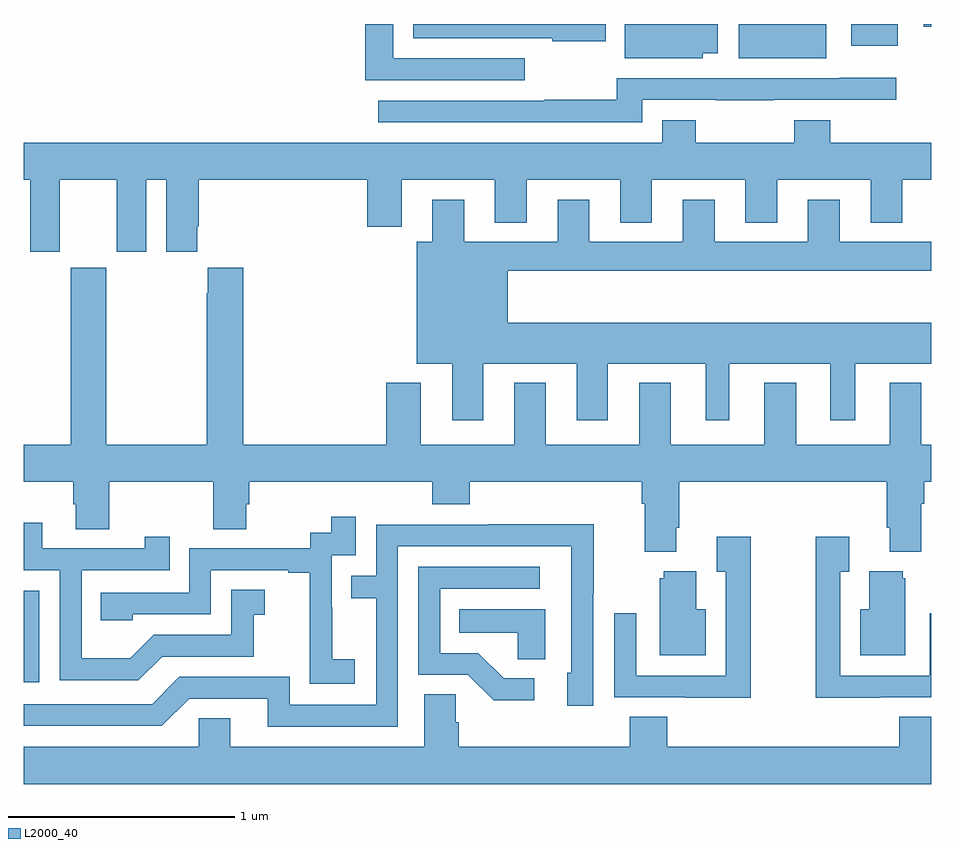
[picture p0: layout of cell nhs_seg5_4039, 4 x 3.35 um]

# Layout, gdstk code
import gdstk
lib = gdstk.Library(unit=1e-6, precision=1e-09)
def R(c, l, rs):  # rectangles x0, y0, x1, y1
    for r in rs: c.add(gdstk.rectangle(r[:2], r[2:], *l))
def P(c, l, *ps):  # polygons
    for p in ps: c.add(gdstk.Polygon(p, *l))
L2000_40 = (2000, 40)

nhs_seg5_4039 = lib.new_cell('nhs_seg5_4039')
R(nhs_seg5_4039, L2000_40, [(349,835.896,349.068,836.301), (352.151,838.649,352.537,838.799), (352.649,838.703,352.852,838.799), (352.968,838.787,353,838.799)])
P(nhs_seg5_4039, L2000_40, [(351.208,838.647),(350.629,838.647),(350.629,838.799),(350.504,838.799),(350.504,838.551),(351.208,838.551)],
  [(351.565,838.799),(350.717,838.799),(350.717,838.737),(351.329,838.737),(351.329,838.724),(351.565,838.724)],
  [(351.993,838.67),(352.059,838.67),(352.059,838.799),(351.65,838.799),(351.65,838.649),(351.993,838.649)],
  [(351.727,838.464),(352.051,838.464),(352.051,838.463),(352.307,838.463),(352.307,838.464),(352.846,838.464),(352.846,838.561),(352.597,838.561),(352.597,838.56),(351.613,838.56),(351.613,838.466),(351.295,838.466),(351.295,838.461),(350.562,838.461),(350.562,838.365),(351.727,838.365)],
  [(349.159,838.112),(349.409,838.112),(349.409,837.795),(349.54,837.795),(349.54,838.112),(349.628,838.112),(349.628,837.795),(349.765,837.795),(349.765,837.907),(349.772,837.907),(349.772,838.112),(350.513,838.112),(350.513,837.906),(350.665,837.906),(350.665,838.112),(351.077,838.112),(351.077,837.923),(351.217,837.923),(351.217,838.112),(351.629,838.112),(351.629,837.923),(351.769,837.923),(351.769,838.112),(352.181,838.112),(352.181,837.923),(352.321,837.923),(352.321,838.112),(352.733,838.112),(352.733,837.923),(352.873,837.923),(352.873,838.112),(353,838.112),(353,838.276),(352.556,838.276),(352.556,838.375),(352.396,838.375),(352.396,838.276),(351.963,838.276),(351.963,838.375),(351.815,838.375),(351.815,838.276),(349,838.276),(349,838.112),(349.028,838.112),(349.028,837.795),(349.159,837.795)],
  [(351.025,837.302),(351.437,837.302),(351.437,837.051),(351.574,837.051),(351.574,837.302),(352.007,837.302),(352.007,837.051),(352.111,837.051),(352.111,837.302),(352.556,837.302),(352.556,837.051),(352.666,837.051),(352.666,837.302),(353,837.302),(353,837.481),(351.133,837.481),(351.133,837.71),(353,837.71),(353,837.838),(352.597,837.838),(352.597,838.024),(352.457,838.024),(352.457,837.838),(352.045,837.838),(352.045,838.024),(351.905,838.024),(351.905,837.838),(351.493,837.838),(351.493,838.024),(351.353,838.024),(351.353,837.838),(350.941,837.838),(350.941,838.024),(350.801,838.024),(350.801,837.838),(350.732,837.838),(350.732,837.302),(350.888,837.302),(350.888,837.051),(351.025,837.051)],
  [(351.877,836.578),(351.89,836.578),(351.89,836.78),(352.805,836.78),(352.805,836.578),(352.817,836.578),(352.817,836.471),(352.957,836.471),(352.957,836.684),(352.97,836.684),(352.97,836.78),(353,836.78),(353,836.944),(352.957,836.944),(352.957,837.217),(352.817,837.217),(352.817,836.944),(352.405,836.944),(352.405,837.217),(352.265,837.217),(352.265,836.944),(351.853,836.944),(351.853,837.217),(351.713,837.217),(351.713,836.944),(351.301,836.944),(351.301,837.217),(351.161,837.217),(351.161,836.944),(350.749,836.944),(350.749,837.217),(350.597,837.217),(350.597,836.944),(349.967,836.944),(349.967,837.724),(349.811,837.724),(349.811,837.611),(349.807,837.611),(349.807,836.944),(349.362,836.944),(349.362,837.724),(349.207,837.724),(349.207,836.944),(349,836.944),(349,836.78),(349.217,836.78),(349.217,836.682),(349.229,836.682),(349.229,836.572),(349.377,836.572),(349.377,836.78),(349.834,836.78),(349.834,836.572),(349.981,836.572),(349.981,836.682),(349.994,836.682),(349.994,836.78),(350.801,836.78),(350.801,836.681),(350.966,836.681),(350.966,836.78),(351.725,836.78),(351.725,836.684),(351.737,836.684),(351.737,836.471),(351.877,836.471)],
  [(350.458,835.999),(350.36,835.999),(350.36,836.228),(350.358,836.228),(350.358,836.457),(350.463,836.457),(350.463,836.626),(350.355,836.626),(350.355,836.556),(350.262,836.556),(350.262,836.487),(349.728,836.487),(349.728,836.292),(349.339,836.292),(349.339,836.169),(349.479,836.169),(349.479,836.196),(349.824,836.196),(349.824,836.391),(350.165,836.391),(350.165,836.379),(350.261,836.379),(350.261,836.095),(350.26,836.095),(350.26,835.889),(350.458,835.889)],
  [(349.609,836.01),(350.013,836.01),(350.013,836.195),(350.062,836.195),(350.062,836.305),(349.914,836.305),(349.914,836.106),(349.572,836.106),(349.468,836.002),(349.254,836.002),(349.254,836.391),(349.643,836.391),(349.643,836.539),(349.532,836.539),(349.532,836.487),(349.081,836.487),(349.081,836.599),(349,836.599),(349,836.391),(349.158,836.391),(349.158,835.905),(349.504,835.905)],
  [(350.649,836.496),(351.414,836.496),(351.414,835.938),(351.395,835.938),(351.395,835.794),(351.51,835.794),(351.51,836.287),(351.513,836.287),(351.513,836.594),(351.049,836.594),(351.049,836.592),(350.553,836.592),(350.553,836.367),(350.443,836.367),(350.443,836.266),(350.553,836.266),(350.553,835.797),(350.172,835.797),(350.172,835.92),(349.686,835.92),(349.566,835.8),(349,835.8),(349,835.704),(349.608,835.704),(349.728,835.824),(350.075,835.824),(350.075,835.701),(350.649,835.701)],
  [(352.775,835.83),(353,835.83),(353,836.2),(352.995,836.2),(352.995,835.926),(352.599,835.926),(352.599,836.383),(352.639,836.383),(352.639,836.539),(352.491,836.539),(352.491,835.829),(352.775,835.829)],
  [(352.204,836.539),(352.055,836.539),(352.055,836.383),(352.095,836.383),(352.095,835.926),(351.699,835.926),(351.699,836.2),(351.603,836.2),(351.603,835.83),(351.919,835.83),(351.919,835.829),(352.204,835.829)],
  [(351.25,835.914),(351.115,835.914),(351.004,836.025),(350.835,836.025),(350.835,836.31),(351.274,836.31),(351.274,836.406),(350.739,836.406),(350.739,835.929),(350.958,835.929),(351.071,835.817),(351.25,835.817)],
  [(352.006,836.218),(351.964,836.218),(351.964,836.386),(351.821,836.386),(351.821,836.355),(351.803,836.355),(351.803,836.015),(352.006,836.015)],
  [(352.885,836.355),(352.874,836.355),(352.874,836.386),(352.727,836.386),(352.727,836.218),(352.688,836.218),(352.688,836.015),(352.885,836.015)],
  [(351.298,836.218),(350.92,836.218),(350.92,836.114),(351.177,836.114),(351.177,835.999),(351.298,835.999)],
  [(353,835.745),(352.859,835.745),(352.859,835.612),(351.836,835.612),(351.836,835.745),(351.671,835.745),(351.671,835.612),(350.918,835.612),(350.918,835.721),(350.904,835.721),(350.904,835.844),(350.765,835.844),(350.765,835.612),(349.909,835.612),(349.909,835.739),(349.77,835.739),(349.77,835.612),(349,835.612),(349,835.448),(353,835.448)])

lib.write_gds('nhs_seg5_4039.gds')
